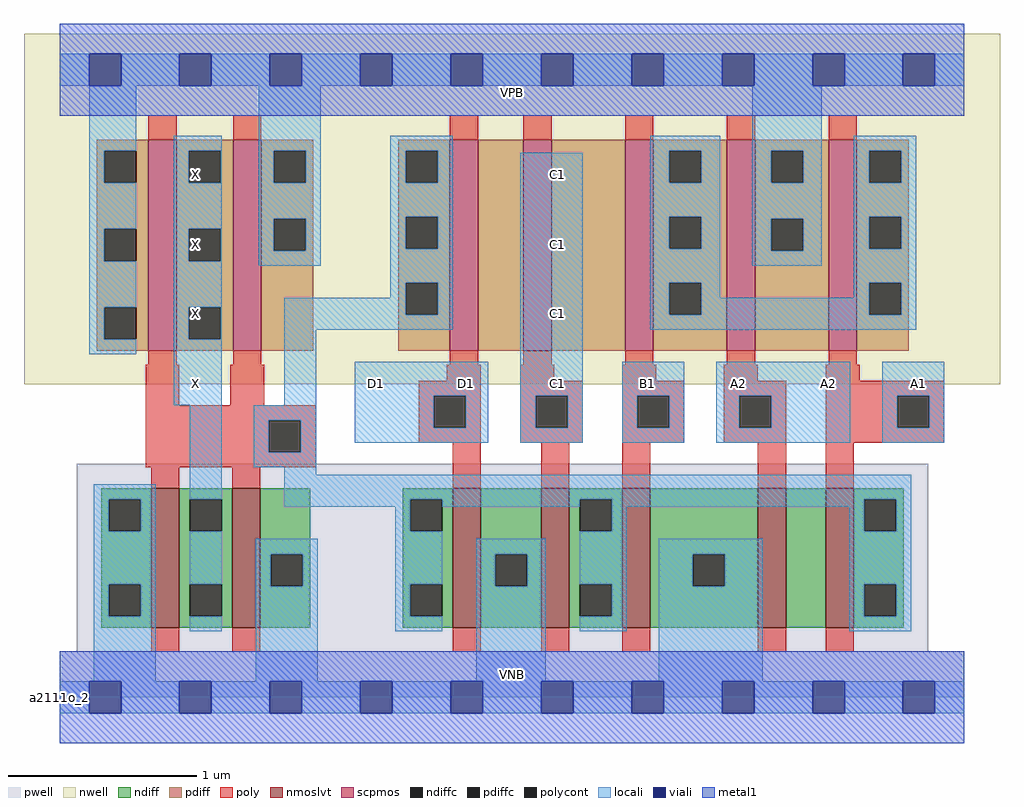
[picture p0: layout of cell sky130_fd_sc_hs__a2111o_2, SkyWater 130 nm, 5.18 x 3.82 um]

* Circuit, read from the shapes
.subckt sky130_fd_sc_hs__a2111o_2 A1 A2 B1 C1 D1 VGND VNB VPB VPWR X
XM1 X n1 VGND VNB sky130_fd_pr__nfet_01v8_lvt w=0.74 l=0.15 m=2
XM2 VGND D1 n1 VNB sky130_fd_pr__nfet_01v8_lvt w=0.74 l=0.15
XM3 n1 C1 VGND VNB sky130_fd_pr__nfet_01v8_lvt w=0.74 l=0.15
XM4 VGND B1 n1 VNB sky130_fd_pr__nfet_01v8_lvt w=0.74 l=0.15
XM5 n2 A2 VGND VNB sky130_fd_pr__nfet_01v8_lvt w=0.74 l=0.15
XM6 n1 A1 n2 VNB sky130_fd_pr__nfet_01v8_lvt w=0.74 l=0.15
XM7 X n1 VPWR VPB sky130_fd_pr__pfet_01v8 w=1.12 l=0.15 m=2
XM8 n3 D1 n1 VPB sky130_fd_pr__pfet_01v8 w=1.12 l=0.15
XM9 n4 C1 n3 VPB sky130_fd_pr__pfet_01v8 w=1.12 l=0.15
XM10 n5 B1 n4 VPB sky130_fd_pr__pfet_01v8 w=1.12 l=0.15
XM11 VPWR A2 n5 VPB sky130_fd_pr__pfet_01v8 w=1.12 l=0.15
XM12 n5 A1 VPWR VPB sky130_fd_pr__pfet_01v8 w=1.12 l=0.15
.ends

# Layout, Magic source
magic
tech sky130A
magscale 1 2
<< nwell >>
rect -38 332 998 704
<< pwell >>
rect 18 49 922 248
rect 0 0 960 49
<< scpmos >>
rect 94 368 124 592
rect 184 368 214 592
rect 414 368 444 592
rect 492 368 522 592
rect 600 368 630 592
rect 708 368 738 592
rect 816 368 846 592
<< nmoslvt >>
rect 97 74 127 222
rect 183 74 213 222
rect 417 74 447 222
rect 511 74 541 222
rect 597 74 627 222
rect 741 74 771 222
rect 813 74 843 222
<< ndiff >>
rect 44 210 97 222
rect 44 176 52 210
rect 86 176 97 210
rect 44 120 97 176
rect 44 86 52 120
rect 86 86 97 120
rect 44 74 97 86
rect 127 210 183 222
rect 127 176 138 210
rect 172 176 183 210
rect 127 120 183 176
rect 127 86 138 120
rect 172 86 183 120
rect 127 74 183 86
rect 213 152 266 222
rect 213 118 224 152
rect 258 118 266 152
rect 213 74 266 118
rect 364 210 417 222
rect 364 176 372 210
rect 406 176 417 210
rect 364 120 417 176
rect 364 86 372 120
rect 406 86 417 120
rect 364 74 417 86
rect 447 152 511 222
rect 447 118 462 152
rect 496 118 511 152
rect 447 74 511 118
rect 541 210 597 222
rect 541 176 552 210
rect 586 176 597 210
rect 541 120 597 176
rect 541 86 552 120
rect 586 86 597 120
rect 541 74 597 86
rect 627 152 741 222
rect 627 118 672 152
rect 706 118 741 152
rect 627 74 741 118
rect 771 74 813 222
rect 843 210 896 222
rect 843 176 854 210
rect 888 176 896 210
rect 843 120 896 176
rect 843 86 854 120
rect 888 86 896 120
rect 843 74 896 86
<< pdiff >>
rect 39 580 94 592
rect 39 546 47 580
rect 81 546 94 580
rect 39 497 94 546
rect 39 463 47 497
rect 81 463 94 497
rect 39 414 94 463
rect 39 380 47 414
rect 81 380 94 414
rect 39 368 94 380
rect 124 580 184 592
rect 124 546 137 580
rect 171 546 184 580
rect 124 497 184 546
rect 124 463 137 497
rect 171 463 184 497
rect 124 414 184 463
rect 124 380 137 414
rect 171 380 184 414
rect 124 368 184 380
rect 214 580 269 592
rect 214 546 227 580
rect 261 546 269 580
rect 214 508 269 546
rect 214 474 227 508
rect 261 474 269 508
rect 214 368 269 474
rect 359 580 414 592
rect 359 546 367 580
rect 401 546 414 580
rect 359 510 414 546
rect 359 476 367 510
rect 401 476 414 510
rect 359 440 414 476
rect 359 406 367 440
rect 401 406 414 440
rect 359 368 414 406
rect 444 368 492 592
rect 522 368 600 592
rect 630 580 708 592
rect 630 546 647 580
rect 681 546 708 580
rect 630 510 708 546
rect 630 476 647 510
rect 681 476 708 510
rect 630 440 708 476
rect 630 406 647 440
rect 681 406 708 440
rect 630 368 708 406
rect 738 580 816 592
rect 738 546 755 580
rect 789 546 816 580
rect 738 508 816 546
rect 738 474 755 508
rect 789 474 816 508
rect 738 368 816 474
rect 846 580 901 592
rect 846 546 859 580
rect 893 546 901 580
rect 846 510 901 546
rect 846 476 859 510
rect 893 476 901 510
rect 846 440 901 476
rect 846 406 859 440
rect 893 406 901 440
rect 846 368 901 406
<< ndiffc >>
rect 52 176 86 210
rect 52 86 86 120
rect 138 176 172 210
rect 138 86 172 120
rect 224 118 258 152
rect 372 176 406 210
rect 372 86 406 120
rect 462 118 496 152
rect 552 176 586 210
rect 552 86 586 120
rect 672 118 706 152
rect 854 176 888 210
rect 854 86 888 120
<< pdiffc >>
rect 47 546 81 580
rect 47 463 81 497
rect 47 380 81 414
rect 137 546 171 580
rect 137 463 171 497
rect 137 380 171 414
rect 227 546 261 580
rect 227 474 261 508
rect 367 546 401 580
rect 367 476 401 510
rect 367 406 401 440
rect 647 546 681 580
rect 647 476 681 510
rect 647 406 681 440
rect 755 546 789 580
rect 755 474 789 508
rect 859 546 893 580
rect 859 476 893 510
rect 859 406 893 440
<< poly >>
rect 94 592 124 618
rect 184 592 214 618
rect 414 592 444 618
rect 492 592 522 618
rect 600 592 630 618
rect 708 592 738 618
rect 816 592 846 618
rect 94 353 124 368
rect 184 353 214 368
rect 414 353 444 368
rect 492 353 522 368
rect 600 353 630 368
rect 708 353 738 368
rect 816 353 846 368
rect 91 310 127 353
rect 181 310 217 353
rect 411 336 447 353
rect 381 320 447 336
rect 91 294 272 310
rect 91 260 222 294
rect 256 260 272 294
rect 381 286 397 320
rect 431 286 447 320
rect 381 270 447 286
rect 489 336 525 353
rect 597 336 633 353
rect 705 336 741 353
rect 813 336 849 353
rect 489 320 555 336
rect 489 286 505 320
rect 539 286 555 320
rect 489 270 555 286
rect 597 320 663 336
rect 597 286 613 320
rect 647 286 663 320
rect 597 270 663 286
rect 705 320 771 336
rect 705 286 721 320
rect 755 286 771 320
rect 705 270 771 286
rect 91 244 272 260
rect 97 222 127 244
rect 183 222 213 244
rect 417 222 447 270
rect 511 222 541 270
rect 597 222 627 270
rect 741 222 771 270
rect 813 320 939 336
rect 813 286 889 320
rect 923 286 939 320
rect 813 270 939 286
rect 813 222 843 270
rect 97 48 127 74
rect 183 48 213 74
rect 417 48 447 74
rect 511 48 541 74
rect 597 48 627 74
rect 741 48 771 74
rect 813 48 843 74
<< polycont >>
rect 222 260 256 294
rect 397 286 431 320
rect 505 286 539 320
rect 613 286 647 320
rect 721 286 755 320
rect 889 286 923 320
<< locali >>
rect 0 649 31 683
rect 65 649 127 683
rect 161 649 223 683
rect 257 649 319 683
rect 353 649 415 683
rect 449 649 511 683
rect 545 649 607 683
rect 641 649 703 683
rect 737 649 799 683
rect 833 649 895 683
rect 929 649 960 683
rect 31 580 81 649
rect 31 546 47 580
rect 31 497 81 546
rect 31 463 47 497
rect 31 414 81 463
rect 31 380 47 414
rect 31 364 81 380
rect 121 580 172 596
rect 121 546 137 580
rect 171 546 172 580
rect 121 497 172 546
rect 121 463 137 497
rect 171 463 172 497
rect 121 414 172 463
rect 211 580 277 649
rect 211 546 227 580
rect 261 546 277 580
rect 211 508 277 546
rect 211 474 227 508
rect 261 474 277 508
rect 211 458 277 474
rect 351 580 417 596
rect 351 546 367 580
rect 401 546 417 580
rect 627 580 701 596
rect 351 510 417 546
rect 351 476 367 510
rect 401 476 417 510
rect 351 440 417 476
rect 351 424 367 440
rect 121 380 137 414
rect 171 380 172 414
rect 121 310 172 380
rect 238 406 367 424
rect 401 406 417 440
rect 238 390 417 406
rect 238 310 272 390
rect 36 210 102 226
rect 36 176 52 210
rect 86 176 102 210
rect 36 120 102 176
rect 36 86 52 120
rect 86 86 102 120
rect 36 17 102 86
rect 138 210 172 310
rect 206 294 272 310
rect 206 260 222 294
rect 256 260 272 294
rect 313 320 455 356
rect 313 286 397 320
rect 431 286 455 320
rect 313 270 455 286
rect 489 320 555 578
rect 627 546 647 580
rect 681 546 701 580
rect 627 510 701 546
rect 627 476 647 510
rect 681 476 701 510
rect 627 440 701 476
rect 735 580 809 649
rect 735 546 755 580
rect 789 546 809 580
rect 735 508 809 546
rect 735 474 755 508
rect 789 474 809 508
rect 735 458 809 474
rect 843 580 909 596
rect 843 546 859 580
rect 893 546 909 580
rect 843 510 909 546
rect 843 476 859 510
rect 893 476 909 510
rect 627 406 647 440
rect 681 424 701 440
rect 843 440 909 476
rect 843 424 859 440
rect 681 406 859 424
rect 893 406 909 440
rect 627 390 909 406
rect 489 286 505 320
rect 539 286 555 320
rect 489 270 555 286
rect 597 320 663 356
rect 597 286 613 320
rect 647 286 663 320
rect 597 270 663 286
rect 697 320 839 356
rect 697 286 721 320
rect 755 286 839 320
rect 697 270 839 286
rect 873 320 939 356
rect 873 286 889 320
rect 923 286 939 320
rect 873 270 939 286
rect 206 244 272 260
rect 238 236 272 244
rect 238 210 904 236
rect 238 202 372 210
rect 138 120 172 176
rect 356 176 372 202
rect 406 202 552 210
rect 138 70 172 86
rect 208 152 274 168
rect 208 118 224 152
rect 258 118 274 152
rect 208 17 274 118
rect 356 120 406 176
rect 586 202 854 210
rect 586 176 602 202
rect 356 86 372 120
rect 356 70 406 86
rect 442 152 516 168
rect 442 118 462 152
rect 496 118 516 152
rect 442 17 516 118
rect 552 120 602 176
rect 838 176 854 202
rect 888 176 904 210
rect 586 86 602 120
rect 552 70 602 86
rect 636 152 746 168
rect 636 118 672 152
rect 706 118 746 152
rect 636 17 746 118
rect 838 120 904 176
rect 838 86 854 120
rect 888 86 904 120
rect 838 70 904 86
rect 0 -17 31 17
rect 65 -17 127 17
rect 161 -17 223 17
rect 257 -17 319 17
rect 353 -17 415 17
rect 449 -17 511 17
rect 545 -17 607 17
rect 641 -17 703 17
rect 737 -17 799 17
rect 833 -17 895 17
rect 929 -17 960 17
<< viali >>
rect 31 649 65 683
rect 127 649 161 683
rect 223 649 257 683
rect 319 649 353 683
rect 415 649 449 683
rect 511 649 545 683
rect 607 649 641 683
rect 703 649 737 683
rect 799 649 833 683
rect 895 649 929 683
rect 31 -17 65 17
rect 127 -17 161 17
rect 223 -17 257 17
rect 319 -17 353 17
rect 415 -17 449 17
rect 511 -17 545 17
rect 607 -17 641 17
rect 703 -17 737 17
rect 799 -17 833 17
rect 895 -17 929 17
<< metal1 >>
rect 0 683 960 715
rect 0 649 31 683
rect 65 649 127 683
rect 161 649 223 683
rect 257 649 319 683
rect 353 649 415 683
rect 449 649 511 683
rect 545 649 607 683
rect 641 649 703 683
rect 737 649 799 683
rect 833 649 895 683
rect 929 649 960 683
rect 0 617 960 649
rect 0 17 960 49
rect 0 -17 31 17
rect 65 -17 127 17
rect 161 -17 223 17
rect 257 -17 319 17
rect 353 -17 415 17
rect 449 -17 511 17
rect 545 -17 607 17
rect 641 -17 703 17
rect 737 -17 799 17
rect 833 -17 895 17
rect 929 -17 960 17
rect 0 -49 960 -17
<< labels >>
rlabel comment s 0 0 0 0 4 a2111o_2
flabel pwell s 0 0 960 49 0 FreeSans 200 0 0 0 VNB
port 7 nsew ground bidirectional
flabel nwell s 0 617 960 666 0 FreeSans 200 0 0 0 VPB
port 8 nsew power bidirectional
flabel metal1 s 0 617 960 666 0 FreeSans 340 0 0 0 VPWR
port 9 nsew power bidirectional
flabel metal1 s 0 0 960 49 0 FreeSans 340 0 0 0 VGND
port 6 nsew ground bidirectional
flabel locali s 319 316 353 350 0 FreeSans 340 0 0 0 D1
port 5 nsew signal input
flabel locali s 415 316 449 350 0 FreeSans 340 0 0 0 D1
port 5 nsew signal input
flabel locali s 511 316 545 350 0 FreeSans 340 0 0 0 C1
port 4 nsew signal input
flabel locali s 511 390 545 424 0 FreeSans 340 0 0 0 C1
port 4 nsew signal input
flabel locali s 511 464 545 498 0 FreeSans 340 0 0 0 C1
port 4 nsew signal input
flabel locali s 511 538 545 572 0 FreeSans 340 0 0 0 C1
port 4 nsew signal input
flabel locali s 607 316 641 350 0 FreeSans 340 0 0 0 B1
port 3 nsew signal input
flabel locali s 703 316 737 350 0 FreeSans 340 0 0 0 A2
port 2 nsew signal input
flabel locali s 799 316 833 350 0 FreeSans 340 0 0 0 A2
port 2 nsew signal input
flabel locali s 895 316 929 350 0 FreeSans 340 0 0 0 A1
port 1 nsew signal input
flabel locali s 127 316 161 350 0 FreeSans 340 0 0 0 X
port 10 nsew signal output
flabel locali s 127 390 161 424 0 FreeSans 340 0 0 0 X
port 10 nsew signal output
flabel locali s 127 464 161 498 0 FreeSans 340 0 0 0 X
port 10 nsew signal output
flabel locali s 127 538 161 572 0 FreeSans 340 0 0 0 X
port 10 nsew signal output
<< properties >>
string LEFsite unit
string LEFclass CORE
string FIXED_BBOX 0 0 960 666
string GDS_FILE $PDKPATH/libs.ref/sky130_fd_sc_hs/gds/sky130_fd_sc_hs.gds
string LEFsymmetry X Y
string GDS_END 52566
string GDS_START 43620
<< end >>
